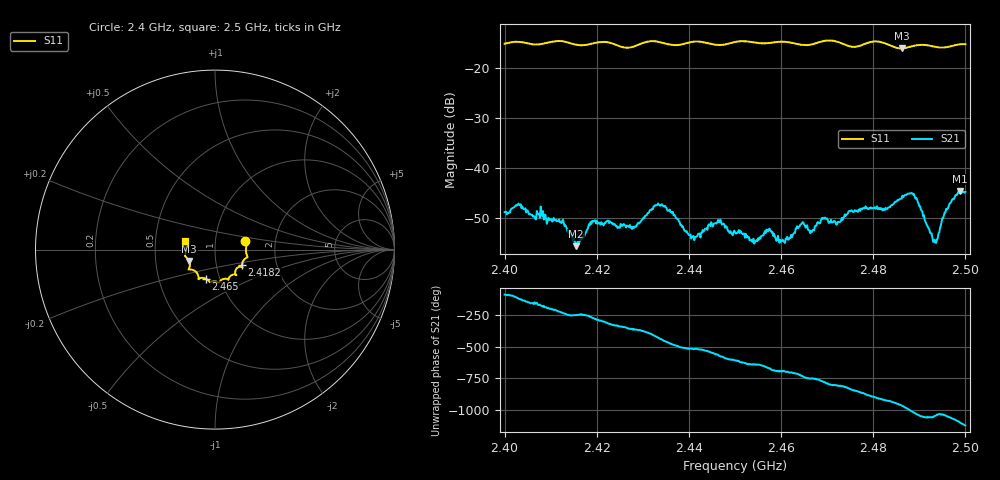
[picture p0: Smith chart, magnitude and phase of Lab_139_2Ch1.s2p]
# Hz S RI R 50
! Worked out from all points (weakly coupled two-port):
!   601 points, 2.4 GHz to 2.5 GHz, reference 50 ohm
!   highest |S21| = -44.57 dB at 2.4988 GHz (marker M1); lowest = -55.6 dB at 2.4155 GHz (marker M2)
!   lowest |S11| = -16.1 dB at 2.4862 GHz (marker M3), VSWR 1.37, Z = 37.1 - j4.81 ohm
!   |S11| at or under -10 dB: start of sweep to end of sweep
!   S12 and S22 are empty: the file has one direction only
!   S11 on the Smith chart (normalised r, x): 2.4 GHz: 1.40, +0.13; 2.4182 GHz: 1.33, -0.23; 2.465 GHz: 0.86, -0.29; 2.5 GHz: 0.71, +0.07
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2.4e9  0.1692 0.046  0.000237 -0.00362  0 0  0 0
2.403e9  0.1803 0.0331  -0.002 -0.00393  0 0  0 0
2.412333e9  0.1817 -0.0421  -0.00189 0.0021  0 0  0 0
2.4155e9  0.162 -0.056  -0.00056 0.00156  0 0  0 0
2.416667e9  0.1547 -0.0682  -0.000772 0.00179  0 0  0 0
2.418167e9  0.1498 -0.0852  -0.000671 0.00249  0 0  0 0
2.428167e9  0.113 -0.1208  0.00258 -0.000248  0 0  0 0
2.433333e9  0.1173 -0.1409  0.00158 -0.00414  0 0  0 0
2.441e9  0.0754 -0.1679  -0.00196 -0.000725  0 0  0 0
2.446333e9  0.0501 -0.1631  -0.00275 0.00126  0 0  0 0
2.45e9  0.0252 -0.1809  -0.000789 0.00215  0 0  0 0
2.460333e9  -0.0284 -0.1818  0.00176 0.000773  0 0  0 0
2.465e9  -0.0525 -0.1617  0.00253 -0.001  0 0  0 0
2.466667e9  -0.0714 -0.1572  0.00198 -0.00115  0 0  0 0
2.469167e9  -0.0901 -0.163  0.00165 -0.00272  0 0  0 0
2.483333e9  -0.1417 -0.0964  -0.00349 0.00201  0 0  0 0
2.486167e9  -0.1441 -0.0631  -0.00193 0.00454  0 0  0 0
2.489e9  -0.1629 -0.0409  0.00305 0.00422  0 0  0 0
2.4935e9  -0.1625 -0.0148  0.00152 0.000956  0 0  0 0
2.4955e9  -0.1606 0.0104  0.0029 0.00212  0 0  0 0
2.498833e9  -0.1681 0.0415  0.00553 -0.00208  0 0  0 0
2.5e9  -0.1671 0.047  0.00414 -0.00406  0 0  0 0
